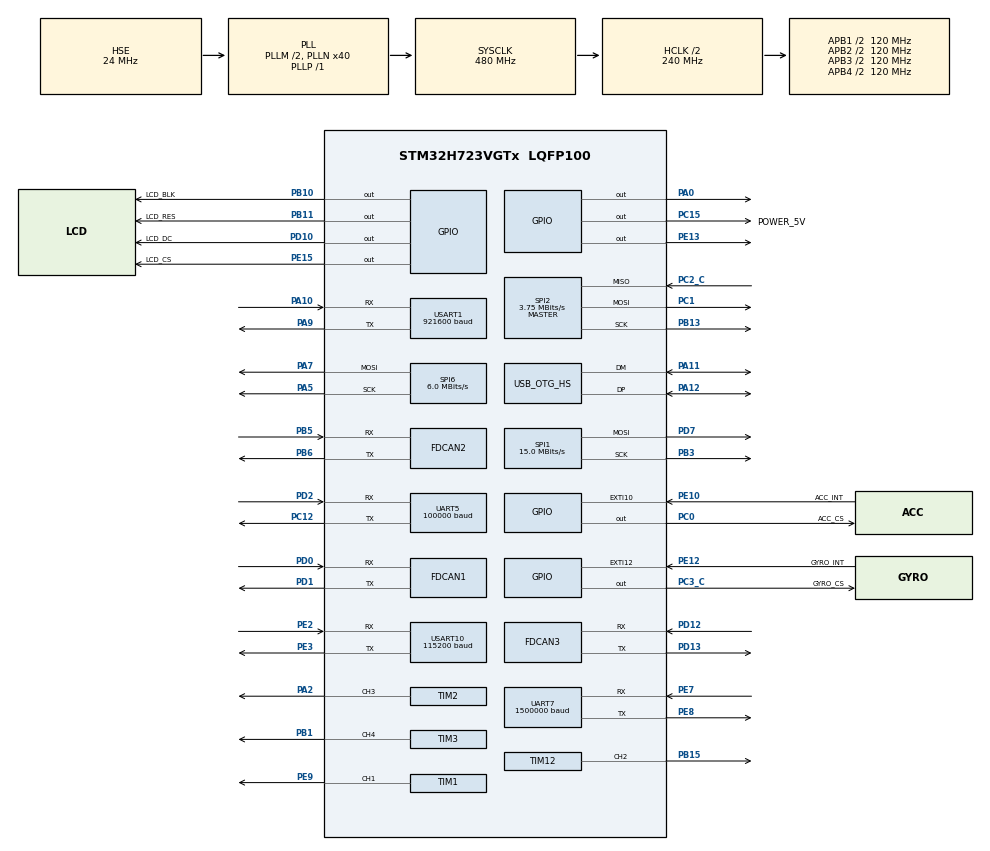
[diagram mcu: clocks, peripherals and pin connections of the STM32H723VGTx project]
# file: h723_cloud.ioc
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CORTEX_M7.default_mode_Activation=0
Dma.Request0=SPI2_RX
Dma.Request1=SPI2_TX
Dma.Request2=UART5_RX
Dma.Request3=USART10_TX
Dma.Request4=USART1_RX
Dma.Request5=UART7_RX
Dma.Request6=USART1_TX
Dma.SPI2_RX.0.Direction=DMA_PERIPH_TO_MEMORY
Dma.SPI2_RX.0.EventEnable=DISABLE
Dma.SPI2_RX.0.FIFOMode=DMA_FIFOMODE_DISABLE
Dma.SPI2_RX.0.Instance=DMA1_Stream2
Dma.SPI2_RX.0.MemDataAlignment=DMA_MDATAALIGN_BYTE
Dma.SPI2_RX.0.MemInc=DMA_MINC_ENABLE
Dma.SPI2_RX.0.Mode=DMA_NORMAL
Dma.SPI2_RX.0.PeriphDataAlignment=DMA_PDATAALIGN_BYTE
Dma.SPI2_RX.0.PeriphInc=DMA_PINC_DISABLE
Dma.SPI2_RX.0.Polarity=HAL_DMAMUX_REQ_GEN_RISING
Dma.SPI2_RX.0.Priority=DMA_PRIORITY_VERY_HIGH
Dma.SPI2_RX.0.RequestNumber=1
Dma.SPI2_RX.0.SignalID=NONE
Dma.SPI2_RX.0.SyncEnable=DISABLE
Dma.SPI2_RX.0.SyncPolarity=HAL_DMAMUX_SYNC_NO_EVENT
Dma.SPI2_RX.0.SyncRequestNumber=1
Dma.SPI2_RX.0.SyncSignalID=NONE
Dma.SPI2_TX.1.Direction=DMA_MEMORY_TO_PERIPH
Dma.SPI2_TX.1.EventEnable=DISABLE
Dma.SPI2_TX.1.FIFOMode=DMA_FIFOMODE_DISABLE
Dma.SPI2_TX.1.Instance=DMA1_Stream0
Dma.SPI2_TX.1.MemDataAlignment=DMA_MDATAALIGN_BYTE
Dma.SPI2_TX.1.MemInc=DMA_MINC_ENABLE
Dma.SPI2_TX.1.Mode=DMA_NORMAL
Dma.SPI2_TX.1.PeriphDataAlignment=DMA_PDATAALIGN_BYTE
Dma.SPI2_TX.1.PeriphInc=DMA_PINC_DISABLE
Dma.SPI2_TX.1.Polarity=HAL_DMAMUX_REQ_GEN_RISING
Dma.SPI2_TX.1.Priority=DMA_PRIORITY_HIGH
Dma.SPI2_TX.1.RequestNumber=1
Dma.SPI2_TX.1.SignalID=NONE
Dma.SPI2_TX.1.SyncEnable=DISABLE
Dma.SPI2_TX.1.SyncPolarity=HAL_DMAMUX_SYNC_NO_EVENT
Dma.SPI2_TX.1.SyncRequestNumber=1
Dma.SPI2_TX.1.SyncSignalID=NONE
Dma.UART5_RX.2.Direction=DMA_PERIPH_TO_MEMORY
Dma.UART5_RX.2.EventEnable=DISABLE
Dma.UART5_RX.2.FIFOMode=DMA_FIFOMODE_DISABLE
Dma.UART5_RX.2.Instance=DMA1_Stream1
Dma.UART5_RX.2.MemDataAlignment=DMA_MDATAALIGN_BYTE
Dma.UART5_RX.2.MemInc=DMA_MINC_ENABLE
Dma.UART5_RX.2.Mode=DMA_CIRCULAR
Dma.UART5_RX.2.PeriphDataAlignment=DMA_PDATAALIGN_BYTE
Dma.UART5_RX.2.PeriphInc=DMA_PINC_DISABLE
Dma.UART5_RX.2.Polarity=HAL_DMAMUX_REQ_GEN_RISING
Dma.UART5_RX.2.Priority=DMA_PRIORITY_VERY_HIGH
Dma.UART5_RX.2.RequestNumber=1
Dma.UART5_RX.2.SignalID=NONE
Dma.UART5_RX.2.SyncEnable=DISABLE
Dma.UART5_RX.2.SyncPolarity=HAL_DMAMUX_SYNC_NO_EVENT
Dma.UART5_RX.2.SyncRequestNumber=1
Dma.UART5_RX.2.SyncSignalID=NONE
Dma.UART7_RX.5.Direction=DMA_PERIPH_TO_MEMORY
Dma.UART7_RX.5.EventEnable=DISABLE
Dma.UART7_RX.5.FIFOMode=DMA_FIFOMODE_DISABLE
Dma.UART7_RX.5.Instance=DMA1_Stream5
Dma.UART7_RX.5.MemDataAlignment=DMA_MDATAALIGN_BYTE
Dma.UART7_RX.5.MemInc=DMA_MINC_ENABLE
Dma.UART7_RX.5.Mode=DMA_CIRCULAR
Dma.UART7_RX.5.PeriphDataAlignment=DMA_PDATAALIGN_BYTE
Dma.UART7_RX.5.PeriphInc=DMA_PINC_DISABLE
Dma.UART7_RX.5.Polarity=HAL_DMAMUX_REQ_GEN_RISING
Dma.UART7_RX.5.Priority=DMA_PRIORITY_VERY_HIGH
Dma.UART7_RX.5.RequestNumber=1
Dma.UART7_RX.5.SignalID=NONE
Dma.UART7_RX.5.SyncEnable=DISABLE
Dma.UART7_RX.5.SyncPolarity=HAL_DMAMUX_SYNC_NO_EVENT
Dma.UART7_RX.5.SyncRequestNumber=1
Dma.UART7_RX.5.SyncSignalID=NONE
Dma.USART10_TX.3.Direction=DMA_MEMORY_TO_PERIPH
Dma.USART10_TX.3.EventEnable=DISABLE
Dma.USART10_TX.3.FIFOMode=DMA_FIFOMODE_DISABLE
Dma.USART10_TX.3.Instance=DMA1_Stream3
Dma.USART10_TX.3.MemDataAlignment=DMA_MDATAALIGN_BYTE
Dma.USART10_TX.3.MemInc=DMA_MINC_ENABLE
Dma.USART10_TX.3.Mode=DMA_NORMAL
Dma.USART10_TX.3.PeriphDataAlignment=DMA_PDATAALIGN_BYTE
Dma.USART10_TX.3.PeriphInc=DMA_PINC_DISABLE
Dma.USART10_TX.3.Polarity=HAL_DMAMUX_REQ_GEN_RISING
Dma.USART10_TX.3.Priority=DMA_PRIORITY_LOW
Dma.USART10_TX.3.RequestNumber=1
Dma.USART10_TX.3.SignalID=NONE
Dma.USART10_TX.3.SyncEnable=DISABLE
Dma.USART10_TX.3.SyncPolarity=HAL_DMAMUX_SYNC_NO_EVENT
Dma.USART10_TX.3.SyncRequestNumber=1
Dma.USART10_TX.3.SyncSignalID=NONE
Dma.USART1_RX.4.Direction=DMA_PERIPH_TO_MEMORY
Dma.USART1_RX.4.EventEnable=DISABLE
Dma.USART1_RX.4.FIFOMode=DMA_FIFOMODE_DISABLE
Dma.USART1_RX.4.Instance=DMA1_Stream4
Dma.USART1_RX.4.MemDataAlignment=DMA_MDATAALIGN_BYTE
Dma.USART1_RX.4.MemInc=DMA_MINC_ENABLE
Dma.USART1_RX.4.Mode=DMA_CIRCULAR
Dma.USART1_RX.4.PeriphDataAlignment=DMA_PDATAALIGN_BYTE
Dma.USART1_RX.4.PeriphInc=DMA_PINC_DISABLE
Dma.USART1_RX.4.Polarity=HAL_DMAMUX_REQ_GEN_RISING
Dma.USART1_RX.4.Priority=DMA_PRIORITY_VERY_HIGH
Dma.USART1_RX.4.RequestNumber=1
Dma.USART1_RX.4.SignalID=NONE
Dma.USART1_RX.4.SyncEnable=DISABLE
Dma.USART1_RX.4.SyncPolarity=HAL_DMAMUX_SYNC_NO_EVENT
Dma.USART1_RX.4.SyncRequestNumber=1
Dma.USART1_RX.4.SyncSignalID=NONE
Dma.USART1_TX.6.Direction=DMA_MEMORY_TO_PERIPH
Dma.USART1_TX.6.EventEnable=DISABLE
Dma.USART1_TX.6.FIFOMode=DMA_FIFOMODE_DISABLE
Dma.USART1_TX.6.Instance=DMA1_Stream6
Dma.USART1_TX.6.MemDataAlignment=DMA_MDATAALIGN_BYTE
Dma.USART1_TX.6.MemInc=DMA_MINC_ENABLE
Dma.USART1_TX.6.Mode=DMA_NORMAL
Dma.USART1_TX.6.PeriphDataAlignment=DMA_PDATAALIGN_BYTE
Dma.USART1_TX.6.PeriphInc=DMA_PINC_DISABLE
Dma.USART1_TX.6.Polarity=HAL_DMAMUX_REQ_GEN_RISING
Dma.USART1_TX.6.Priority=DMA_PRIORITY_MEDIUM
Dma.USART1_TX.6.RequestNumber=1
Dma.USART1_TX.6.SignalID=NONE
Dma.USART1_TX.6.SyncEnable=DISABLE
Dma.USART1_TX.6.SyncPolarity=HAL_DMAMUX_SYNC_NO_EVENT
Dma.USART1_TX.6.SyncRequestNumber=1
Dma.USART1_TX.6.SyncSignalID=NONE
FDCAN1.AutoRetransmission=ENABLE
FDCAN1.CalculateBaudRateNominal=999999
FDCAN1.CalculateTimeBitNominal=1000
FDCAN1.CalculateTimeQuantumNominal=83.33333333333334
FDCAN1.NominalPrescaler=10
FDCAN1.NominalTimeSeg1=8
FDCAN1.NominalTimeSeg2=3
FDCAN1.RxFifo0ElmtsNbr=32
FDCAN1.StdFiltersNbr=1
FDCAN1.TxFifoQueueElmtsNbr=32
FDCAN1.TxFifoQueueMode=FDCAN_TX_FIFO_OPERATION
FDCAN2.CalculateBaudRateNominal=999999
FDCAN2.CalculateTimeBitNominal=1000
FDCAN2.CalculateTimeQuantumNominal=83.33333333333334
FDCAN2.MessageRAMOffset=1024
FDCAN2.NominalPrescaler=10
FDCAN2.NominalTimeSeg1=8
FDCAN2.NominalTimeSeg2=3
FDCAN2.RxFifo0ElmtsNbr=32
FDCAN2.StdFiltersNbr=1
FDCAN2.TxFifoQueueElmtsNbr=32
FDCAN3.CalculateBaudRateNominal=999999
FDCAN3.CalculateTimeBitNominal=1000
FDCAN3.CalculateTimeQuantumNominal=83.33333333333334
FDCAN3.MessageRAMOffset=2048
FDCAN3.NominalPrescaler=10
FDCAN3.NominalTimeSeg1=8
FDCAN3.NominalTimeSeg2=3
FDCAN3.RxFifo0ElmtsNbr=32
FDCAN3.StdFiltersNbr=1
FDCAN3.TxFifoQueueElmtsNbr=32
FREERTOS.BinarySemaphores01=imuBinarySem01,Static,imuBinarySemControlBlock
FREERTOS.INCLUDE_eTaskGetState=1
FREERTOS.INCLUDE_pcTaskGetTaskName=1
FREERTOS.INCLUDE_uxTaskGetStackHighWaterMark=1
FREERTOS.INCLUDE_uxTaskGetStackHighWaterMark2=0
FREERTOS.INCLUDE_vTaskCleanUpResources=1
FREERTOS.INCLUDE_vTaskDelayUntil=1
FREERTOS.INCLUDE_xEventGroupSetBitFromISR=1
FREERTOS.INCLUDE_xQueueGetMutexHolder=1
FREERTOS.INCLUDE_xSemaphoreGetMutexHolder=1
FREERTOS.INCLUDE_xTaskAbortDelay=1
FREERTOS.INCLUDE_xTaskGetCurrentTaskHandle=1
FREERTOS.INCLUDE_xTaskGetHandle=1
FREERTOS.INCLUDE_xTimerPendFunctionCall=1
FREERTOS.MEMORY_ALLOCATION=2
FREERTOS.Queues01=rcQueue,1,36,1,Dynamic,NULL,NULL;canRxQueue,20,12,1,Dynamic,NULL,NULL
FREERTOS.Tasks01=All_Init,47,256,All_Init_Run,Default,NULL,Dynamic,NULL,NULL;INSTask,48,1024,IMU_task,As external,NULL,Static,IMU_Buffer,IMUControlBlock;CanDecodeTask,32,512,Can_Decode_Task,As external,NULL,Dynamic,NULL,NULL;rcTask,16,256,RC_Task,As weak,NULL,Dynamic,NULL,NULL
FREERTOS.configTOTAL_HEAP_SIZE=49152
FREERTOS.configUSE_TIMERS=1
Mcu.Family=STM32H7
Mcu.Name=STM32H723VGTx
Mcu.Package=LQFP100
NVIC.DMA1_Stream0_IRQn=true\:5\:0\:true\:false\:true\:true\:false\:true\:true
NVIC.DMA1_Stream1_IRQn=true\:5\:0\:true\:false\:true\:true\:false\:true\:true
NVIC.DMA1_Stream2_IRQn=true\:5\:0\:false\:false\:true\:true\:false\:true\:true
NVIC.DMA1_Stream3_IRQn=true\:15\:0\:true\:false\:true\:true\:false\:true\:true
NVIC.DMA1_Stream4_IRQn=true\:5\:0\:false\:false\:true\:true\:false\:true\:true
NVIC.DMA1_Stream5_IRQn=true\:5\:0\:false\:false\:true\:true\:false\:true\:true
NVIC.DMA1_Stream6_IRQn=true\:5\:0\:false\:false\:true\:true\:false\:true\:true
NVIC.EXTI15_10_IRQn=true\:6\:0\:true\:false\:true\:true\:true\:true\:true
NVIC.FDCAN1_IT0_IRQn=true\:5\:0\:true\:false\:true\:true\:true\:true\:true
NVIC.FDCAN2_IT0_IRQn=true\:5\:0\:true\:false\:true\:true\:true\:true\:true
NVIC.FDCAN3_IT0_IRQn=true\:5\:0\:true\:false\:true\:true\:true\:true\:true
NVIC.OTG_HS_IRQn=true\:5\:0\:true\:false\:true\:true\:true\:true\:true
NVIC.PriorityGroup=NVIC_PRIORITYGROUP_4
NVIC.SPI2_IRQn=true\:5\:0\:false\:false\:true\:true\:false\:true\:true
NVIC.TIM6_DAC_IRQn=true\:15\:0\:false\:false\:true\:false\:false\:true\:true
NVIC.TimeBase=TIM6_DAC_IRQn
NVIC.TimeBaseIP=TIM6
NVIC.UART5_IRQn=true\:5\:0\:false\:false\:true\:true\:true\:true\:true
NVIC.USART10_IRQn=true\:4\:0\:true\:false\:true\:true\:true\:true\:true
NVIC.USART1_IRQn=true\:5\:0\:false\:false\:true\:true\:true\:true\:true
PA0.GPIO_Speed=GPIO_SPEED_FREQ_VERY_HIGH
PA0.Signal=GPIO_Output
PA10.GPIO_Speed=GPIO_SPEED_FREQ_VERY_HIGH
PA10.Mode=Asynchronous
PA10.Signal=USART1_RX
PA11.Mode=Device_Only_FS
PA11.Signal=USB_OTG_HS_DM
PA12.Mode=Device_Only_FS
PA12.Signal=USB_OTG_HS_DP
PA13(JTMS/SWDIO).Mode=Serial_Wire
PA13(JTMS/SWDIO).Signal=DEBUG_JTMS-SWDIO
PA14(JTCK/SWCLK).Mode=Serial_Wire
PA14(JTCK/SWCLK).Signal=DEBUG_JTCK-SWCLK
PA2.GPIO_Speed=GPIO_SPEED_FREQ_VERY_HIGH
PA2.Signal=S_TIM2_CH3
PA5.Mode=TX_Only_Simplex_Unidirect_Master
PA5.Signal=SPI6_SCK
PA7.Mode=TX_Only_Simplex_Unidirect_Master
PA7.Signal=SPI6_MOSI
PA9.GPIO_Speed=GPIO_SPEED_FREQ_VERY_HIGH
PA9.Mode=Asynchronous
PA9.Signal=USART1_TX
PB1.Signal=S_TIM3_CH4
PB10.GPIO_Label=LCD_BLK
PB10.Signal=GPIO_Output
PB11.GPIO_Label=LCD_RES
PB11.Signal=GPIO_Output
PB13.GPIO_Speed=GPIO_SPEED_FREQ_VERY_HIGH
PB13.Mode=Full_Duplex_Master
PB13.Signal=SPI2_SCK
PB15.Signal=S_TIM12_CH2
PB3(JTDO/TRACESWO).Mode=TX_Only_Simplex_Unidirect_Master
PB3(JTDO/TRACESWO).Signal=SPI1_SCK
PB5.GPIO_Speed=GPIO_SPEED_FREQ_VERY_HIGH
PB5.Mode=FDCAN_Activate
PB5.Signal=FDCAN2_RX
PB6.GPIO_Speed=GPIO_SPEED_FREQ_VERY_HIGH
PB6.Mode=FDCAN_Activate
PB6.Signal=FDCAN2_TX
PC0.GPIO_Label=ACC_CS
PC0.GPIO_Speed=GPIO_SPEED_FREQ_VERY_HIGH
PC0.PinState=GPIO_PIN_SET
PC0.Signal=GPIO_Output
PC1.GPIO_Speed=GPIO_SPEED_FREQ_VERY_HIGH
PC1.Mode=Full_Duplex_Master
PC1.Signal=SPI2_MOSI
PC12.Mode=Asynchronous
PC12.Signal=UART5_TX
PC15-OSC32_OUT.GPIO_Label=POWER_5V
PC15-OSC32_OUT.PinState=GPIO_PIN_SET
PC15-OSC32_OUT.Signal=GPIO_Output
PC2_C.GPIO_Speed=GPIO_SPEED_FREQ_VERY_HIGH
PC2_C.Mode=Full_Duplex_Master
PC2_C.Signal=SPI2_MISO
PC3_C.GPIO_Label=GYRO_CS
PC3_C.GPIO_Speed=GPIO_SPEED_FREQ_VERY_HIGH
PC3_C.PinState=GPIO_PIN_SET
PC3_C.Signal=GPIO_Output
PD0.GPIO_Speed=GPIO_SPEED_FREQ_VERY_HIGH
PD0.Mode=FDCAN_Activate
PD0.Signal=FDCAN1_RX
PD1.GPIO_Speed=GPIO_SPEED_FREQ_VERY_HIGH
PD1.Mode=FDCAN_Activate
PD1.Signal=FDCAN1_TX
PD10.GPIO_Label=LCD_DC
PD10.Signal=GPIO_Output
PD12.GPIO_Speed=GPIO_SPEED_FREQ_VERY_HIGH
PD12.Mode=FDCAN_Activate
PD12.Signal=FDCAN3_RX
PD13.GPIO_Speed=GPIO_SPEED_FREQ_VERY_HIGH
PD13.Mode=FDCAN_Activate
PD13.Signal=FDCAN3_TX
PD2.Mode=Asynchronous
PD2.Signal=UART5_RX
PD7.Mode=TX_Only_Simplex_Unidirect_Master
PD7.Signal=SPI1_MOSI
PE10.GPIO_Label=ACC_INT
PE10.Signal=GPXTI10
PE12.GPIO_Label=GYRO_INT
PE12.Signal=GPXTI12
PE13.GPIO_PuPd=GPIO_PULLUP
PE13.Signal=GPIO_Output
PE15.GPIO_Label=LCD_CS
PE15.Signal=GPIO_Output
PE2.GPIO_Speed=GPIO_SPEED_FREQ_VERY_HIGH
PE2.Mode=Asynchronous
PE2.Signal=USART10_RX
PE3.GPIO_Speed=GPIO_SPEED_FREQ_VERY_HIGH
PE3.Mode=Asynchronous
PE3.Signal=USART10_TX
PE7.GPIO_Speed=GPIO_SPEED_FREQ_VERY_HIGH
PE7.Mode=Asynchronous
PE7.Signal=UART7_RX
PE8.GPIO_Speed=GPIO_SPEED_FREQ_VERY_HIGH
PE8.Mode=Asynchronous
PE8.Signal=UART7_TX
PE9.GPIO_Speed=GPIO_SPEED_FREQ_VERY_HIGH
PE9.Signal=S_TIM1_CH1
PH0-OSC_IN.Mode=HSE-External-Oscillator
PH0-OSC_IN.Signal=RCC_OSC_IN
PH1-OSC_OUT.Mode=HSE-External-Oscillator
PH1-OSC_OUT.Signal=RCC_OSC_OUT
ProjectManager.HeapSize=0x2000
ProjectManager.StackSize=0x2000
ProjectManager.TargetToolchain=MDK-ARM V5.32
RCC.ADCFreq_Value=48375000
RCC.APB1Freq_Value=120000000
RCC.APB2Freq_Value=120000000
RCC.APB3Freq_Value=120000000
RCC.APB4Freq_Value=120000000
RCC.CortexFreq_Value=480000000
RCC.D1PPRE=RCC_APB3_DIV2
RCC.D2PPRE1=RCC_APB1_DIV2
RCC.D2PPRE2=RCC_APB2_DIV2
RCC.D3PPRE=RCC_APB4_DIV2
RCC.DIVM1=2
RCC.DIVN1=40
RCC.DIVP1=1
RCC.DIVQ1=4
RCC.HCLKFreq_Value=240000000
RCC.HPRE=RCC_HCLK_DIV2
RCC.HSE_VALUE=24000000
RCC.PLLSourceVirtual=RCC_PLLSOURCE_HSE
RCC.SPI6CLockSelection=RCC_SPI6CLKSOURCE_HSE
RCC.SYSCLKFreq_VALUE=480000000
RCC.SYSCLKSource=RCC_SYSCLKSOURCE_PLLCLK
RCC.USBCLockSelection=RCC_USBCLKSOURCE_HSI48
RCC.USBFreq_Value=48000000
SH.S_TIM12_CH2.0=TIM12_CH2,PWM Generation2 CH2
SH.S_TIM1_CH1.0=TIM1_CH1,PWM Generation1 CH1
SH.S_TIM2_CH3.0=TIM2_CH3,PWM Generation3 CH3
SH.S_TIM3_CH4.0=TIM3_CH4,PWM Generation4 CH4
SPI1.BaudRatePrescaler=SPI_BAUDRATEPRESCALER_8
SPI1.CLKPolarity=SPI_POLARITY_HIGH
SPI1.CalculateBaudRate=15.0 MBits/s
SPI1.DataSize=SPI_DATASIZE_8BIT
SPI1.Direction=SPI_DIRECTION_2LINES_TXONLY
SPI1.Mode=SPI_MODE_MASTER
SPI1.VirtualType=VM_MASTER
SPI2.BaudRatePrescaler=SPI_BAUDRATEPRESCALER_32
SPI2.CLKPhase=SPI_PHASE_2EDGE
SPI2.CLKPolarity=SPI_POLARITY_HIGH
SPI2.CalculateBaudRate=3.75 MBits/s
SPI2.DataSize=SPI_DATASIZE_8BIT
SPI2.Direction=SPI_DIRECTION_2LINES
SPI2.Mode=SPI_MODE_MASTER
SPI2.VirtualType=VM_MASTER
SPI6.BaudRatePrescaler=SPI_BAUDRATEPRESCALER_4
SPI6.CLKPhase=SPI_PHASE_2EDGE
SPI6.CalculateBaudRate=6.0 MBits/s
SPI6.DataSize=SPI_DATASIZE_8BIT
SPI6.Direction=SPI_DIRECTION_2LINES_TXONLY
SPI6.Mode=SPI_MODE_MASTER
SPI6.VirtualType=VM_MASTER
TIM1.AutoReloadPreload=TIM_AUTORELOAD_PRELOAD_ENABLE
TIM1.AutomaticOutput=TIM_AUTOMATICOUTPUT_ENABLE
TIM1.Channel-PWM\ Generation1\ CH1=TIM_CHANNEL_1
TIM1.Period=20000-1
TIM1.Prescaler=240-1
TIM1.Pulse-PWM\ Generation1\ CH1=0
TIM12.Channel-PWM\ Generation2\ CH2=TIM_CHANNEL_2
TIM12.Period=2000-1
TIM12.Prescaler=48-1
TIM2.AutoReloadPreload=TIM_AUTORELOAD_PRELOAD_ENABLE
TIM2.Channel-PWM\ Generation3\ CH3=TIM_CHANNEL_3
TIM2.Period=20000-1
TIM2.Prescaler=240-1
TIM2.Pulse-PWM\ Generation3\ CH3=0
TIM3.AutoReloadPreload=TIM_AUTORELOAD_PRELOAD_ENABLE
TIM3.Channel-PWM\ Generation4\ CH4=TIM_CHANNEL_4
TIM3.Period=10000-1
TIM3.Prescaler=24-1
UART5.BaudRate=100000
UART5.Parity=PARITY_EVEN
UART5.StopBits=UART_STOPBITS_2
UART5.WordLength=WORDLENGTH_9B
UART7.BaudRate=1500000
USART1.BaudRate=921600
USART1.VirtualMode-Asynchronous=VM_ASYNC
USART10.BaudRate=115200
USART10.VirtualMode=VM_ASYNC
USB_DEVICE.CLASS_NAME_HS=CDC
USB_DEVICE.VirtualMode=Cdc
USB_DEVICE.VirtualModeHS=Cdc_HS
USB_OTG_HS.VirtualMode-Device_Only_FS=Device_Only_FS
VP_FREERTOS_VS_CMSIS_V2.Mode=CMSIS_V2
VP_RCC_USB.Mode=USB_HS
VP_SYS_VS_tim6.Mode=TIM6
VP_TIM1_VS_ClockSourceINT.Mode=Internal
VP_TIM2_VS_ClockSourceINT.Mode=Internal
VP_USB_DEVICE_VS_USB_DEVICE_CDC_HS.Mode=CDC_HS
board=custom

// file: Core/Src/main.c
/* USER CODE BEGIN Header */
/**
  ******************************************************************************
  * @file           : main.c
  * @brief          : Main program body
  ******************************************************************************
  * @attention
  *
  * Copyright (c) 2024 STMicroelectronics.
  * All rights reserved.
  *
  * This software is licensed under terms that can be found in the LICENSE file
  * in the root directory of this software component.
  * If no LICENSE file comes with this software, it is provided AS-IS.
  *
  ******************************************************************************
  */
/* USER CODE END Header */
#include "main.h"
#include "cmsis_os.h"
#include "dma.h"
#include "fdcan.h"
#include "spi.h"
#include "tim.h"
#include "usart.h"
#include "usb_device.h"
#include "gpio.h"

/* USER CODE BEGIN Includes */
#include "bsp_dwt.h"
extern void Arm_EmergencyStop(void);   /* 定义在 Modules/arm.c */
/* USER CODE END Includes */

void SystemClock_Config(void);
void MX_FREERTOS_Init(void);

int main(void)
{
  /* USER CODE BEGIN 1 */
    SCB_EnableICache();
    SCB_EnableDCache();
  /* USER CODE END 1 */

  /* MCU Configuration--------------------------------------------------------*/

  /* Reset of all peripherals, Initializes the Flash interface and the Systick. */
  HAL_Init();

  /* Configure the system clock */
  SystemClock_Config();

  /* Initialize all configured peripherals */
  MX_GPIO_Init();
  MX_DMA_Init();
  MX_FDCAN2_Init();
  MX_FDCAN3_Init();
  MX_SPI2_Init();
  MX_FDCAN1_Init();
  MX_TIM3_Init();
  MX_TIM12_Init();
  MX_SPI1_Init();
  MX_UART5_Init();
  MX_USART10_UART_Init();
  MX_SPI6_Init();
  MX_USART1_UART_Init();
  MX_TIM2_Init();
  MX_TIM1_Init();
  MX_UART7_Init();
  /* USER CODE BEGIN 2 */

	DWT_Init();

  /* USER CODE END 2 */

  /* Init scheduler */
  osKernelInitialize();  /* Call init function for freertos objects (in freertos.c) */
  MX_FREERTOS_Init();

  /* Start scheduler */
  osKernelStart();
  /* We should never get here as control is now taken by the scheduler */
  /* Infinite loop */
  while (1)
  {

  }
}

void SystemClock_Config(void)
{
  RCC_OscInitTypeDef RCC_OscInitStruct = {0};
  RCC_ClkInitTypeDef RCC_ClkInitStruct = {0};
  RCC_CRSInitTypeDef RCC_CRSInitStruct = {0};

  /** Supply configuration update enable
  */
  HAL_PWREx_ConfigSupply(PWR_LDO_SUPPLY);

  /** Configure the main internal regulator output voltage
  */
  __HAL_PWR_VOLTAGESCALING_CONFIG(PWR_REGULATOR_VOLTAGE_SCALE0);

  while(!__HAL_PWR_GET_FLAG(PWR_FLAG_VOSRDY)) {}

  /** Initializes the RCC Oscillators according to the specified parameters
  * in the RCC_OscInitTypeDef structure.
  */
  RCC_OscInitStruct.OscillatorType = RCC_OSCILLATORTYPE_HSI48|RCC_OSCILLATORTYPE_HSE;
  RCC_OscInitStruct.HSEState = RCC_HSE_ON;
  RCC_OscInitStruct.HSI48State = RCC_HSI48_ON;
  RCC_OscInitStruct.PLL.PLLState = RCC_PLL_ON;
  RCC_OscInitStruct.PLL.PLLSource = RCC_PLLSOURCE_HSE;
  RCC_OscInitStruct.PLL.PLLM = 2;
  RCC_OscInitStruct.PLL.PLLN = 40;
  RCC_OscInitStruct.PLL.PLLP = 1;
  RCC_OscInitStruct.PLL.PLLQ = 4;
  RCC_OscInitStruct.PLL.PLLR = 2;
  RCC_OscInitStruct.PLL.PLLRGE = RCC_PLL1VCIRANGE_3;
  RCC_OscInitStruct.PLL.PLLVCOSEL = RCC_PLL1VCOWIDE;
  RCC_OscInitStruct.PLL.PLLFRACN = 0;
  if (HAL_RCC_OscConfig(&RCC_OscInitStruct) != HAL_OK)
  {
    Error_Handler();
  }

  /** Initializes the CPU, AHB and APB buses clocks
  */
  RCC_ClkInitStruct.ClockType = RCC_CLOCKTYPE_HCLK|RCC_CLOCKTYPE_SYSCLK
                              |RCC_CLOCKTYPE_PCLK1|RCC_CLOCKTYPE_PCLK2
                              |RCC_CLOCKTYPE_D3PCLK1|RCC_CLOCKTYPE_D1PCLK1;
  RCC_ClkInitStruct.SYSCLKSource = RCC_SYSCLKSOURCE_PLLCLK;
  RCC_ClkInitStruct.SYSCLKDivider = RCC_SYSCLK_DIV1;
  RCC_ClkInitStruct.AHBCLKDivider = RCC_HCLK_DIV2;
  RCC_ClkInitStruct.APB3CLKDivider = RCC_APB3_DIV2;
  RCC_ClkInitStruct.APB1CLKDivider = RCC_APB1_DIV2;
  RCC_ClkInitStruct.APB2CLKDivider = RCC_APB2_DIV2;
  RCC_ClkInitStruct.APB4CLKDivider = RCC_APB4_DIV2;

  if (HAL_RCC_ClockConfig(&RCC_ClkInitStruct, FLASH_LATENCY_3) != HAL_OK)
  {
    Error_Handler();
  }

  /** Enable the SYSCFG APB clock
  */
  __HAL_RCC_CRS_CLK_ENABLE();

  /** Configures CRS
  */
  RCC_CRSInitStruct.Prescaler = RCC_CRS_SYNC_DIV1;
  RCC_CRSInitStruct.Source = RCC_CRS_SYNC_SOURCE_USB2;
  RCC_CRSInitStruct.Polarity = RCC_CRS_SYNC_POLARITY_RISING;
  RCC_CRSInitStruct.ReloadValue = __HAL_RCC_CRS_RELOADVALUE_CALCULATE(48000000,1000);
  RCC_CRSInitStruct.ErrorLimitValue = 34;
  RCC_CRSInitStruct.HSI48CalibrationValue = 32;

  HAL_RCCEx_CRSConfig(&RCC_CRSInitStruct);
}

void HAL_TIM_PeriodElapsedCallback(TIM_HandleTypeDef *htim)
{
  if (htim->Instance == TIM6) {
    HAL_IncTick();
  }
}

void Error_Handler(void)
{
  /* USER CODE BEGIN Error_Handler_Debug */
  /* 启动期/运行期 HAL 失败：先把电机全部失能再停死，避免顶死飞车。
     这里不复位——启动期失败进复位循环更糟；运行期挂死由 Mon_Task/故障入口复位。 */
  Arm_EmergencyStop();
  __disable_irq();
  while (1)
  {
  }
  /* USER CODE END Error_Handler_Debug */
}

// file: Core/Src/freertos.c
/* USER CODE BEGIN Header */
/**
  ******************************************************************************
  * File Name          : freertos.c
  * Description        : Code for freertos applications
  ******************************************************************************
  * @attention
  *
  * Copyright (c) 2025 STMicroelectronics.
  * All rights reserved.
  *
  * This software is licensed under terms that can be found in the LICENSE file
  * in the root directory of this software component.
  * If no LICENSE file comes with this software, it is provided AS-IS.
  *
  ******************************************************************************
  */
/* USER CODE END Header */

#include "FreeRTOS.h"
#include "task.h"
#include "main.h"
#include "cmsis_os.h"

/* USER CODE BEGIN Includes */
#include "cmsis_os2.h"
#include "bsp_DR16.h"
#include "bsp_buzzer.h"
#include "arm_task.h"

//#include "math.h"

/* USER CODE END Includes */

typedef StaticTask_t osStaticThreadDef_t;
/* USER CODE BEGIN PTD */
//RC_ctrl_t *rc;
/* USER CODE END PTD */

/* Definitions for All_Init */
osThreadId_t All_InitHandle;
const osThreadAttr_t All_Init_attributes = {
  .name = "All_Init",
  .stack_size = 256 * 4,
  .priority = (osPriority_t) osPriorityHigh7,
};
/* Definitions for CanDecodeTask */
osThreadId_t CanDecodeTaskHandle;
const osThreadAttr_t CanDecodeTask_attributes = {
  .name = "CanDecodeTask",
  .stack_size = 512 * 4,
  .priority = (osPriority_t) osPriorityAboveNormal,
};
/* Definitions for ArmTask */
osThreadId_t ArmTaskHandle;
const osThreadAttr_t ArmTask_attributes = {
  .name = "ArmTask",
  .stack_size = 1024 * 4,
  .priority = (osPriority_t) osPriorityNormal,
};
/* Definitions for MonTask */
osThreadId_t MonTaskHandle;
const osThreadAttr_t MonTask_attributes = {
  .name = "MonTask",
  .stack_size = 256 * 4,
  .priority = (osPriority_t) osPriorityHigh,
};
/* Definitions for rcTask */
osThreadId_t rcTaskHandle;
const osThreadAttr_t rcTask_attributes = {
  .name = "rcTask",
  .stack_size = 256 * 4,
  .priority = (osPriority_t) osPriorityBelowNormal,
};
/* Definitions for canRxQueue */
osMessageQueueId_t canRxQueueHandle;
const osMessageQueueAttr_t canRxQueue_attributes = {
  .name = "canRxQueue"
};

void All_Init_Run(void *argument);
extern void Can_Decode_Task(void *argument);
extern void Arm_Task(void *argument);
extern void Mon_Task(void *argument);
void RC_Task(void *argument);

extern void MX_USB_DEVICE_Init(void);
void MX_FREERTOS_Init(void); /* (MISRA C 2004 rule 8.1) */

void MX_FREERTOS_Init(void) {

  /* Create the semaphores(s) */

  /* Create the queue(s) */
  /* creation of canRxQueue */
  canRxQueueHandle = osMessageQueueNew (20, sizeof(CAN_Rx_Message_t), &canRxQueue_attributes);

  /* Create the thread(s) */
  /* creation of All_Init */
  All_InitHandle = osThreadNew(All_Init_Run, NULL, &All_Init_attributes);

  /* creation of CanDecodeTask */
  CanDecodeTaskHandle = osThreadNew(Can_Decode_Task, NULL, &CanDecodeTask_attributes);

  /* creation of rcTask */
  rcTaskHandle = osThreadNew(RC_Task, NULL, &rcTask_attributes);

  /* creation of ArmTask */
  ArmTaskHandle = osThreadNew(Arm_Task, NULL, &ArmTask_attributes);

  /* creation of MonTask */
  MonTaskHandle = osThreadNew(Mon_Task, NULL, &MonTask_attributes);

}

void All_Init_Run(void *argument)
{
  /* init code for USB_DEVICE */
  MX_USB_DEVICE_Init();
  /* USER CODE BEGIN All_Init_Run */
	taskENTER_CRITICAL();  //�����ٽ���

	BSP_FDCAN_Config();

	DR16_Init();

	taskEXIT_CRITICAL();   //�˳��ٽ���

	vTaskDelete(NULL);
  /* USER CODE END All_Init_Run */
}

__weak void RC_Task(void *argument)
{
  for(;;)
  {
    osDelay(1);
  }
}
